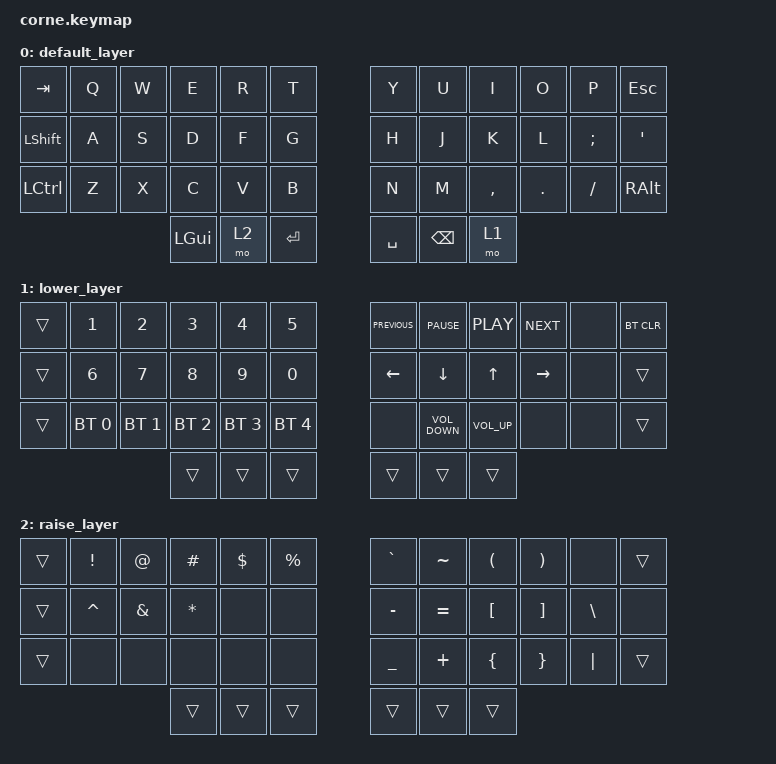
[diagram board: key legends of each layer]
/*
 * Copyright (c) 2020 The ZMK Contributors
 *
 * SPDX-License-Identifier: MIT
 */

#include <behaviors.dtsi>
#include <dt-bindings/zmk/bt.h>
#include <dt-bindings/zmk/keys.h>

/ {
    keymap {
        compatible = "zmk,keymap";

        default_layer {
            // -----------------------------------------------------------------------------------------
            // |  TAB |  Q  |  W  |  E  |  R  |  T  |   |  Y  |  U   |  I  |  O  |  P  | BSPC |
            // | CTRL |  A  |  S  |  D  |  F  |  G  |   |  H  |  J   |  K  |  L  |  ;  |  '   |
            // | SHFT |  Z  |  X  |  C  |  V  |  B  |   |  N  |  M   |  ,  |  .  |  /  | ESC  |
            //                    | GUI | LWR | SPC |   | ENT | RSE  | ALT |

            bindings = <
&kp TAB           &kp Q  &kp W  &kp E     &kp R  &kp T        &kp Y      &kp U          &kp I      &kp O    &kp P     &kp ESCAPE
&kp LEFT_SHIFT    &kp A  &kp S  &kp D     &kp F  &kp G        &kp H      &kp J          &kp K      &kp L    &kp SEMI  &kp SQT
&kp LEFT_CONTROL  &kp Z  &kp X  &kp C     &kp V  &kp B        &kp N      &kp M          &kp COMMA  &kp DOT  &kp FSLH  &kp RIGHT_ALT
                                &kp LGUI  &mo 2  &kp ENTER    &kp SPACE  &kp BACKSPACE  &mo 1
            >;
        };

        lower_layer {
            // -----------------------------------------------------------------------------------------
            // |  TAB |  1  |  2  |  3  |  4  |  5  |   |  6  |  7  |  8  |  9  |  0  | BSPC |
            // | BTCLR| BT1 | BT2 | BT3 | BT4 | BT5 |   | LFT | DWN |  UP | RGT |     |      |
            // | SHFT |     |     |     |     |     |   |     |     |     |     |     |      |
            //                    | GUI |     | SPC |   | ENT |     | ALT |

            bindings = <
&trans  &kp N1        &kp N2        &kp N3        &kp N4        &kp N5          &kp C_PREVIOUS  &kp C_PAUSE        &kp C_PLAY       &kp C_NEXT  &none  &bt BT_CLR
&trans  &kp N6        &kp N7        &kp N8        &kp N9        &kp N0          &kp LEFT        &kp DOWN           &kp UP           &kp RIGHT   &none  &trans
&trans  &bt BT_SEL 0  &bt BT_SEL 1  &bt BT_SEL 2  &bt BT_SEL 3  &bt BT_SEL 4    &none           &kp C_VOLUME_DOWN  &kp C_VOLUME_UP  &none       &none  &trans
                                    &trans        &trans        &trans          &trans          &trans             &trans
            >;
        };

        raise_layer {
            // -----------------------------------------------------------------------------------------
            // |  TAB |  !  |  @  |  #  |  $  |  %  |   |  ^  |  &  |  *  |  (  |  )  | BSPC |
            // | CTRL |     |     |     |     |     |   |  -  |  =  |  [  |  ]  |  \  |  `   |
            // | SHFT |     |     |     |     |     |   |  _  |  +  |  {  |  }  | "|" |  ~   |
            //                    | GUI |     | SPC |   | ENT |     | ALT |

            bindings = <
&trans  &kp EXCL   &kp AT    &kp HASH      &kp DLLR  &kp PRCNT    &kp GRAVE  &kp TILDE  &kp LEFT_PARENTHESIS  &kp RIGHT_PARENTHESIS  &none     &trans
&trans  &kp CARET  &kp AMPS  &kp ASTERISK  &none     &none        &kp MINUS  &kp EQUAL  &kp LBKT              &kp RBKT               &kp BSLH  &none
&trans  &none      &none     &none         &none     &none        &kp UNDER  &kp PLUS   &kp LBRC              &kp RBRC               &kp PIPE  &trans
                             &trans        &trans    &trans       &trans     &trans     &trans
            >;
        };
    };
};
